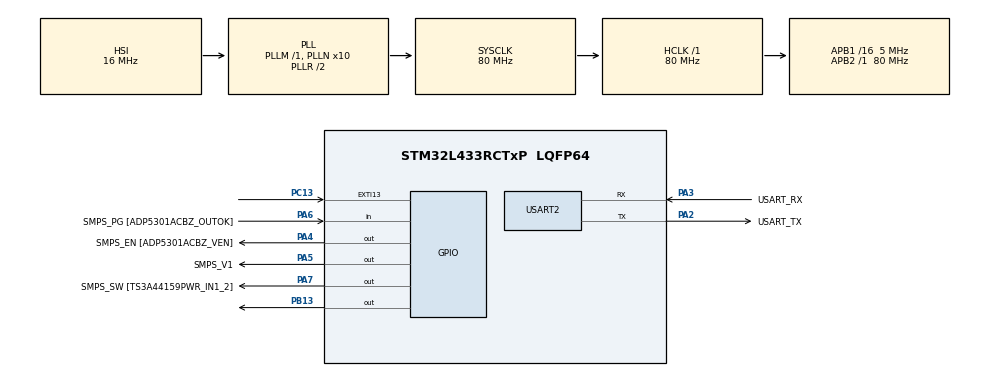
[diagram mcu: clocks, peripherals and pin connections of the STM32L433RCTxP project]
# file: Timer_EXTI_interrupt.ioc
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Mcu.Family=STM32L4
Mcu.Name=STM32L433RCTxP
Mcu.Package=LQFP64
NVIC.EXTI15_10_IRQn=true\:0\:0\:false\:false\:true\:true\:true\:true
NVIC.PriorityGroup=NVIC_PRIORITYGROUP_4
NVIC.TIM6_DAC_IRQn=true\:0\:0\:false\:false\:true\:true\:true\:true
PA13\ (JTMS-SWDIO).GPIO_Label=TMS
PA13\ (JTMS-SWDIO).Mode=Serial_Wire
PA13\ (JTMS-SWDIO).Signal=SYS_JTMS-SWDIO
PA14\ (JTCK-SWCLK).GPIO_Label=TCK
PA14\ (JTCK-SWCLK).Mode=Serial_Wire
PA14\ (JTCK-SWCLK).Signal=SYS_JTCK-SWCLK
PA2.GPIO_Label=USART_TX
PA2.GPIO_Mode=GPIO_MODE_AF_PP
PA2.GPIO_PuPd=GPIO_NOPULL
PA2.GPIO_Speed=GPIO_SPEED_FREQ_VERY_HIGH
PA2.Mode=Asynchronous
PA2.Signal=USART2_TX
PA3.GPIO_Label=USART_RX
PA3.GPIO_Mode=GPIO_MODE_AF_PP
PA3.GPIO_PuPd=GPIO_NOPULL
PA3.GPIO_Speed=GPIO_SPEED_FREQ_VERY_HIGH
PA3.Mode=Asynchronous
PA3.Signal=USART2_RX
PA4.GPIO_Label=SMPS_EN [ADP5301ACBZ_VEN]
PA4.Signal=GPIO_Output
PA5.GPIO_Label=SMPS_V1
PA5.GPIO_ModeDefaultOutputPP=GPIO_MODE_OUTPUT_PP
PA5.GPIO_PuPd=GPIO_NOPULL
PA5.GPIO_Speed=GPIO_SPEED_FREQ_LOW
PA5.Signal=GPIO_Output
PA6.GPIO_Label=SMPS_PG [ADP5301ACBZ_OUTOK]
PA6.GPIO_PuPd=GPIO_PULLUP
PA6.Signal=GPIO_Input
PA7.GPIO_Label=SMPS_SW [TS3A44159PWR_IN1_2]
PA7.Signal=GPIO_Output
PB13.Signal=GPIO_Output
PB3\ (JTDO-TRACESWO).GPIO_Label=SWO
PB3\ (JTDO-TRACESWO).Signal=SYS_JTDO-SWO
PC13.GPIO_ModeDefaultEXTI=GPIO_MODE_IT_RISING
PC13.Signal=GPXTI13
PC14-OSC32_IN\ (PC14).Mode=LSE-External-Oscillator
PC14-OSC32_IN\ (PC14).Signal=RCC_OSC32_IN
PC15-OSC32_OUT\ (PC15).Mode=LSE-External-Oscillator
PC15-OSC32_OUT\ (PC15).Signal=RCC_OSC32_OUT
PH0-OSC_IN\ (PH0).GPIO_Label=MCO
PH0-OSC_IN\ (PH0).Mode=HSE-External-Clock-Source
PH0-OSC_IN\ (PH0).Signal=RCC_OSC_IN
PH1-OSC_OUT\ (PH1).Signal=RCC_OSC_OUT
ProjectManager.HeapSize=0x200
ProjectManager.StackSize=0x400
ProjectManager.TargetToolchain=EWARM V8.32
RCC.ADCFreq_Value=64000000
RCC.AHBFreq_Value=80000000
RCC.APB1CLKDivider=RCC_HCLK_DIV16
RCC.APB1Freq_Value=5000000
RCC.APB1TimFreq_Value=10000000
RCC.APB2Freq_Value=80000000
RCC.APB2TimFreq_Value=80000000
RCC.CortexFreq_Value=80000000
RCC.HCLKFreq_Value=80000000
RCC.HSI48_VALUE=48000000
RCC.HSI_VALUE=16000000
RCC.MSI_VALUE=4000000
RCC.PLLN=10
RCC.PLLSourceVirtual=RCC_PLLSOURCE_HSI
RCC.PREFETCH_ENABLE=1
RCC.SYSCLKFreq_VALUE=80000000
RCC.SYSCLKSource=RCC_SYSCLKSOURCE_PLLCLK
RCC.USBFreq_Value=64000000
RCC.VCOOutputFreq_Value=160000000
TIM6.Period=500
TIM6.Prescaler=8000
USART2.VirtualMode-Asynchronous=VM_ASYNC
VP_TIM6_VS_ClockSourceINT.Mode=Enable_Timer
board=NUCLEO-L433RC-P

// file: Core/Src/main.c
/* USER CODE BEGIN Header */
/**
******************************************************************************
* @file           : main.c
* @brief          : Main program body
******************************************************************************
* @attention
*
* Copyright (c) 2022 STMicroelectronics.
* All rights reserved.
*
* This software is licensed under terms that can be found in the LICENSE file
* in the root directory of this software component.
* If no LICENSE file comes with this software, it is provided AS-IS.
*
******************************************************************************
*/
/* USER CODE END Header */
#include "main.h"

TIM_HandleTypeDef htim6;

UART_HandleTypeDef huart2;

/* USER CODE BEGIN PV */
uint8_t toggle_stat=0;

void HAL_GPIO_EXTI_Callback(uint16_t GPIO_Pin){
  //HAL_GPIO_TogglePin(GPIOB,GPIO_PIN_13);

  if(GPIO_Pin == GPIO_PIN_13){
    if(toggle_stat == 0){
      HAL_TIM_Base_Stop_IT(&htim6);
      // 1s
      htim6.Init.Prescaler = 10000; // 1000
      htim6.Init.Period = 1000; // 2
      toggle_stat =1;
      HAL_TIM_Base_Init(&htim6);
      HAL_TIM_Base_Start_IT(&htim6);
    }
    else if(toggle_stat == 1){
      HAL_TIM_Base_Stop_IT(&htim6);
      // 0.5s

      htim6.Init.Prescaler = 10000;
      htim6.Init.Period = 500;
      toggle_stat =2 ;
      HAL_TIM_Base_Init(&htim6);
      HAL_TIM_Base_Start_IT(&htim6);
    }
    else if(toggle_stat == 2){
      HAL_TIM_Base_Stop_IT(&htim6);

      // 0.25s
      htim6.Init.Prescaler = 10000;
      htim6.Init.Period = 250;

      toggle_stat =3;
      HAL_TIM_Base_Init(&htim6);
      HAL_TIM_Base_Start_IT(&htim6);
    }
    else if(toggle_stat == 3){
      HAL_TIM_Base_Stop_IT(&htim6);
      // 0.125s
      htim6.Init.Prescaler = 10000;
      htim6.Init.Period = 125;

      toggle_stat =0;
      HAL_TIM_Base_Init(&htim6);
      HAL_TIM_Base_Start_IT(&htim6);
    }
  }

}
void HAL_TIM_PeriodElapsedCallback(TIM_HandleTypeDef *htim){
  if(htim->Instance == TIM6){
    HAL_GPIO_TogglePin(GPIOB,GPIO_PIN_13);
  }
}
/* USER CODE END PV */

void SystemClock_Config(void);
static void MX_GPIO_Init(void);
static void MX_USART2_UART_Init(void);
static void MX_TIM6_Init(void);

int main(void)
{

  /* MCU Configuration--------------------------------------------------------*/

  /* Reset of all peripherals, Initializes the Flash interface and the Systick. */
  HAL_Init();

  /* Configure the system clock */
  SystemClock_Config();

  /* Initialize all configured peripherals */
  MX_GPIO_Init();
  MX_USART2_UART_Init();
  MX_TIM6_Init();
  /* USER CODE BEGIN 2 */
  HAL_TIM_Base_Start_IT(&htim6) ;
  /* USER CODE END 2 */

  /* Infinite loop */
  while (1)
  {

  }
}

void SystemClock_Config(void)
{
  RCC_OscInitTypeDef RCC_OscInitStruct = {0};
  RCC_ClkInitTypeDef RCC_ClkInitStruct = {0};

  /** Configure the main internal regulator output voltage
  */
  if (HAL_PWREx_ControlVoltageScaling(PWR_REGULATOR_VOLTAGE_SCALE1) != HAL_OK)
  {
    Error_Handler();
  }

  /** Initializes the RCC Oscillators according to the specified parameters
  * in the RCC_OscInitTypeDef structure.
  */
  RCC_OscInitStruct.OscillatorType = RCC_OSCILLATORTYPE_HSI;
  RCC_OscInitStruct.HSIState = RCC_HSI_ON;
  RCC_OscInitStruct.HSICalibrationValue = RCC_HSICALIBRATION_DEFAULT;
  RCC_OscInitStruct.PLL.PLLState = RCC_PLL_ON;
  RCC_OscInitStruct.PLL.PLLSource = RCC_PLLSOURCE_HSI;
  RCC_OscInitStruct.PLL.PLLM = 1;
  RCC_OscInitStruct.PLL.PLLN = 10;
  RCC_OscInitStruct.PLL.PLLP = RCC_PLLP_DIV7;
  RCC_OscInitStruct.PLL.PLLQ = RCC_PLLQ_DIV2;
  RCC_OscInitStruct.PLL.PLLR = RCC_PLLR_DIV2;
  if (HAL_RCC_OscConfig(&RCC_OscInitStruct) != HAL_OK)
  {
    Error_Handler();
  }

  /** Initializes the CPU, AHB and APB buses clocks
  */
  RCC_ClkInitStruct.ClockType = RCC_CLOCKTYPE_HCLK|RCC_CLOCKTYPE_SYSCLK
                              |RCC_CLOCKTYPE_PCLK1|RCC_CLOCKTYPE_PCLK2;
  RCC_ClkInitStruct.SYSCLKSource = RCC_SYSCLKSOURCE_PLLCLK;
  RCC_ClkInitStruct.AHBCLKDivider = RCC_SYSCLK_DIV1;
  RCC_ClkInitStruct.APB1CLKDivider = RCC_HCLK_DIV16;
  RCC_ClkInitStruct.APB2CLKDivider = RCC_HCLK_DIV1;

  if (HAL_RCC_ClockConfig(&RCC_ClkInitStruct, FLASH_LATENCY_4) != HAL_OK)
  {
    Error_Handler();
  }
}

static void MX_TIM6_Init(void)
{

  TIM_MasterConfigTypeDef sMasterConfig = {0};

  htim6.Instance = TIM6;
  htim6.Init.Prescaler = 8000;
  htim6.Init.CounterMode = TIM_COUNTERMODE_UP;
  htim6.Init.Period = 500;
  htim6.Init.AutoReloadPreload = TIM_AUTORELOAD_PRELOAD_DISABLE;
  if (HAL_TIM_Base_Init(&htim6) != HAL_OK)
  {
    Error_Handler();
  }
  sMasterConfig.MasterOutputTrigger = TIM_TRGO_RESET;
  sMasterConfig.MasterSlaveMode = TIM_MASTERSLAVEMODE_DISABLE;
  if (HAL_TIMEx_MasterConfigSynchronization(&htim6, &sMasterConfig) != HAL_OK)
  {
    Error_Handler();
  }

}

static void MX_USART2_UART_Init(void)
{

  huart2.Instance = USART2;
  huart2.Init.BaudRate = 115200;
  huart2.Init.WordLength = UART_WORDLENGTH_8B;
  huart2.Init.StopBits = UART_STOPBITS_1;
  huart2.Init.Parity = UART_PARITY_NONE;
  huart2.Init.Mode = UART_MODE_TX_RX;
  huart2.Init.HwFlowCtl = UART_HWCONTROL_NONE;
  huart2.Init.OverSampling = UART_OVERSAMPLING_16;
  huart2.Init.OneBitSampling = UART_ONE_BIT_SAMPLE_DISABLE;
  huart2.AdvancedInit.AdvFeatureInit = UART_ADVFEATURE_NO_INIT;
  if (HAL_UART_Init(&huart2) != HAL_OK)
  {
    Error_Handler();
  }

}

static void MX_GPIO_Init(void)
{
  GPIO_InitTypeDef GPIO_InitStruct = {0};

  /* GPIO Ports Clock Enable */
  __HAL_RCC_GPIOC_CLK_ENABLE();
  __HAL_RCC_GPIOH_CLK_ENABLE();
  __HAL_RCC_GPIOA_CLK_ENABLE();
  __HAL_RCC_GPIOB_CLK_ENABLE();

  /*Configure GPIO pin Output Level */
  HAL_GPIO_WritePin(GPIOA, SMPS_EN_Pin|SMPS_V1_Pin|SMPS_SW_Pin, GPIO_PIN_RESET);

  /*Configure GPIO pin Output Level */
  HAL_GPIO_WritePin(GPIOB, GPIO_PIN_13, GPIO_PIN_RESET);

  /*Configure GPIO pin : PC13 */
  GPIO_InitStruct.Pin = GPIO_PIN_13;
  GPIO_InitStruct.Mode = GPIO_MODE_IT_RISING;
  GPIO_InitStruct.Pull = GPIO_NOPULL;
  HAL_GPIO_Init(GPIOC, &GPIO_InitStruct);

  /*Configure GPIO pins : SMPS_EN_Pin SMPS_V1_Pin SMPS_SW_Pin */
  GPIO_InitStruct.Pin = SMPS_EN_Pin|SMPS_V1_Pin|SMPS_SW_Pin;
  GPIO_InitStruct.Mode = GPIO_MODE_OUTPUT_PP;
  GPIO_InitStruct.Pull = GPIO_NOPULL;
  GPIO_InitStruct.Speed = GPIO_SPEED_FREQ_LOW;
  HAL_GPIO_Init(GPIOA, &GPIO_InitStruct);

  /*Configure GPIO pin : SMPS_PG_Pin */
  GPIO_InitStruct.Pin = SMPS_PG_Pin;
  GPIO_InitStruct.Mode = GPIO_MODE_INPUT;
  GPIO_InitStruct.Pull = GPIO_PULLUP;
  HAL_GPIO_Init(SMPS_PG_GPIO_Port, &GPIO_InitStruct);

  /*Configure GPIO pin : PB13 */
  GPIO_InitStruct.Pin = GPIO_PIN_13;
  GPIO_InitStruct.Mode = GPIO_MODE_OUTPUT_PP;
  GPIO_InitStruct.Pull = GPIO_NOPULL;
  GPIO_InitStruct.Speed = GPIO_SPEED_FREQ_LOW;
  HAL_GPIO_Init(GPIOB, &GPIO_InitStruct);

  /* EXTI interrupt init*/
  HAL_NVIC_SetPriority(EXTI15_10_IRQn, 0, 0);
  HAL_NVIC_EnableIRQ(EXTI15_10_IRQn);

}

void Error_Handler(void)
{
  __disable_irq();
  while (1)
  {
  }
}
